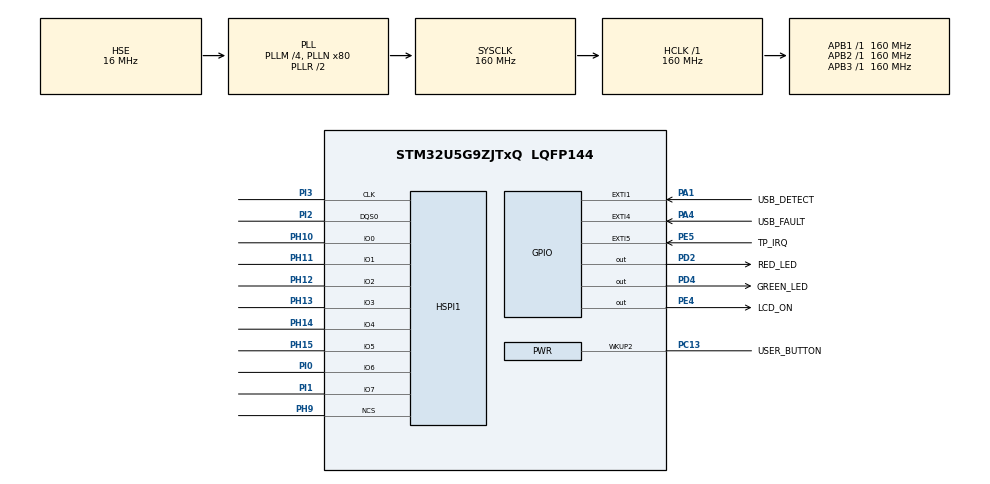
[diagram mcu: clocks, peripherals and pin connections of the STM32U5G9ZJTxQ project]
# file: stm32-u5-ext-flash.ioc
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CORTEX_M33_NS.userName=CORTEX_M33
HSPI1.ChipSelectBoundary=HAL_XSPI_BONDARYOF_NONE
HSPI1.ChipSelectHighTimeCycle=2
HSPI1.DeviceType=SPI_DEVICE_FLASH
HSPI1.FifoThresholdByte=4
HSPI1.MemorySize=HAL_XSPI_SIZE_1GB
HSPI1.MemoryType=HAL_XSPI_MEMTYPE_MACRONIX
Mcu.Family=STM32U5
Mcu.Name=STM32U5G9ZJTxQ
Mcu.Package=LQFP144
NVIC.EXTI1_IRQn=true\:0\:0\:false\:false\:true\:true\:true\:true
NVIC.EXTI4_IRQn=true\:0\:0\:false\:false\:true\:true\:true\:true
NVIC.EXTI5_IRQn=true\:0\:0\:false\:false\:true\:true\:true\:true
NVIC.PriorityGroup=NVIC_PRIORITYGROUP_4
PA1.GPIO_Label=USB_DETECT
PA1.GPIO_ModeDefaultEXTI=GPIO_MODE_IT_RISING_FALLING
PA1.Signal=GPXTI1
PA10.Signal=USART1_RX
PA11.Signal=USB_OTG_HS_DM
PA12.Signal=USB_OTG_HS_DP
PA13\ (JTMS/SWDIO).Signal=DEBUG_JTMS-SWDIO
PA14\ (JTCK/SWCLK).Signal=DEBUG_JTCK-SWCLK
PA4.GPIO_Label=USB_FAULT
PA4.GPIO_ModeDefaultEXTI=GPIO_MODE_IT_FALLING
PA4.GPIO_PuPd=GPIO_PULLUP
PA4.Signal=GPXTI4
PA9.Signal=USART1_TX
PB2.Signal=LTDC_B1
PB3\ (JTDO/TRACESWO).Signal=DEBUG_JTDO-SWO
PB9.Signal=LTDC_B0
PC13.GPIO_Label=USER_BUTTON
PC13.Mode=WakeUp2
PC13.Signal=PWR_WKUP2
PC14-OSC32_IN\ (PC14).Mode=LSE-External-Oscillator
PC14-OSC32_IN\ (PC14).Signal=RCC_OSC32_IN
PC15-OSC32_OUT\ (PC15).Mode=LSE-External-Oscillator
PC15-OSC32_OUT\ (PC15).Signal=RCC_OSC32_OUT
PC6.Signal=LTDC_R0
PC7.Signal=LTDC_R1
PC8.Signal=LTDC_G0
PC9.Signal=LTDC_G1
PD0.Signal=LTDC_B4
PD1.Signal=LTDC_B5
PD10.Signal=LTDC_R5
PD11.Signal=LTDC_R6
PD12.Signal=LTDC_R7
PD13.Signal=LTDC_VSYNC
PD14.Signal=LTDC_B2
PD15.Signal=LTDC_B3
PD2.GPIO_Label=RED_LED
PD2.Signal=GPIO_Output
PD3.Signal=LTDC_CLK
PD4.GPIO_Label=GREEN_LED
PD4.Signal=GPIO_Output
PD6.Signal=LTDC_DE
PD8.Signal=LTDC_R3
PD9.Signal=LTDC_R4
PE0.Signal=LTDC_HSYNC
PE10.Signal=LTDC_G3
PE11.Signal=LTDC_G4
PE12.Signal=LTDC_G5
PE13.Signal=LTDC_G6
PE14.Signal=LTDC_G7
PE15.Signal=LTDC_R2
PE4.GPIO_Label=LCD_ON
PE4.PinState=GPIO_PIN_SET
PE4.Signal=GPIO_Output
PE5.GPIO_Label=TP_IRQ
PE5.Signal=GPXTI5
PE6.GPIO_Label=BL_CTRL
PE6.Signal=S_TIM3_CH4
PE7.Signal=LTDC_B6
PE8.Signal=LTDC_B7
PE9.Signal=LTDC_G2
PF0.Signal=I2C2_SDA
PF1.Signal=I2C2_SCL
PH0-OSC_IN\ (PH0).Mode=HSE-External-Oscillator
PH0-OSC_IN\ (PH0).Signal=RCC_OSC_IN
PH1-OSC_OUT\ (PH1).Mode=HSE-External-Oscillator
PH1-OSC_OUT\ (PH1).Signal=RCC_OSC_OUT
PH10.Mode=octo_mode
PH10.Signal=HSPI1_IO0
PH11.Mode=octo_mode
PH11.Signal=HSPI1_IO1
PH12.Mode=octo_mode
PH12.Signal=HSPI1_IO2
PH13.Mode=octo_mode
PH13.Signal=HSPI1_IO3
PH14.Mode=octo_mode
PH14.Signal=HSPI1_IO4
PH15.Mode=octo_mode
PH15.Signal=HSPI1_IO5
PH9.Mode=octo_mode
PH9.Signal=HSPI1_NCS
PI0.Mode=octo_mode
PI0.Signal=HSPI1_IO6
PI1.Mode=octo_mode
PI1.Signal=HSPI1_IO7
PI2.Mode=octo_mode
PI2.Signal=HSPI1_DQS0
PI3.Mode=octo_mode
PI3.Signal=HSPI1_CLK
PWR.PowerMode=PWR_SMPS_SUPPLY
ProjectManager.HeapSize=0x200
ProjectManager.StackSize=0x400
ProjectManager.TargetToolchain=STM32CubeIDE
RCC.ADCFreq_Value=16000000
RCC.AHBFreq_Value=160000000
RCC.APB1Freq_Value=160000000
RCC.APB1TimFreq_Value=160000000
RCC.APB2Freq_Value=160000000
RCC.APB2TimFreq_Value=160000000
RCC.APB3Freq_Value=160000000
RCC.CortexFreq_Value=160000000
RCC.EPOD_VALUE=16000000
RCC.HCLKFreq_Value=160000000
RCC.HSE_VALUE=16000000
RCC.HSI48_VALUE=48000000
RCC.HSI_VALUE=16000000
RCC.HSPICLockSelection=RCC_HSPICLKSOURCE_PLL2
RCC.LSIDIV_VALUE=32000
RCC.LTDCCLockSelection=RCC_LTDCCLKSOURCE_PLL3
RCC.MSIClockRange=RCC_MSIRANGE_0
RCC.MSI_VALUE=48000000
RCC.PLL1P=8
RCC.PLL2FRACN=0
RCC.PLL2M=4
RCC.PLL2N=66
RCC.PLL2R=4
RCC.PLL2Source=RCC_PLLSOURCE_HSE
RCC.PLL3FRACN=0
RCC.PLL3M=4
RCC.PLL3N=50
RCC.PLL3R=8
RCC.PLL3Source=RCC_PLLSOURCE_HSE
RCC.PLLFRACN=0
RCC.PLLM=4
RCC.PLLN=80
RCC.PLLSourceVirtual=RCC_PLLSOURCE_HSE
RCC.RTCClockSelection=RCC_RTCCLKSOURCE_LSE
RCC.SYSCLKFreq_VALUE=160000000
RCC.SYSCLKSource=RCC_SYSCLKSOURCE_PLLCLK
RCC.VCOOutputFreq_Value=320000000
SH.S_TIM3_CH4.0=TIM3_CH4
VP_DCACHE1_VS_DCACHE.Mode=DCACHE_Activate
VP_ICACHE_VS_ICACHE.Mode=DirectMappedCache
VP_LPBAMQUEUE_VS_QUEUE.Mode=QUEUEMODE
VP_LPBAM_VS_SIG1.Mode=SmartRun
VP_LPBAM_VS_SIG4.Mode=LPDMA1
VP_MEMORYMAP_VS_MEMORYMAP.Mode=CurAppReg
VP_PWR_VS_LPOM.Mode=PowerOptimisation
VP_PWR_VS_SECSignals.Mode=Security/Privilege
board=STM32U5G9J-DK2

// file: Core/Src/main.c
/* USER CODE BEGIN Header */
/**
  ******************************************************************************
  * @file           : main.c
  * @brief          : Main program body
  ******************************************************************************
  * @attention
  *
  * Copyright (c) 2024 STMicroelectronics.
  * All rights reserved.
  *
  * This software is licensed under terms that can be found in the LICENSE file
  * in the root directory of this software component.
  * If no LICENSE file comes with this software, it is provided AS-IS.
  *
  ******************************************************************************
  */
/* USER CODE END Header */
#include "main.h"

/* USER CODE BEGIN Includes */
#include "test_flash.h"
#include <stdio.h>
/* USER CODE END Includes */

DCACHE_HandleTypeDef hdcache1;

XSPI_HandleTypeDef hxspi1;

void SystemClock_Config(void);
static void SystemPower_Config(void);
static void MX_GPIO_Init(void);
static void MX_HSPI1_Init(void);
static void MX_ICACHE_Init(void);
static void MX_DCACHE1_Init(void);

/* USER CODE BEGIN 0 */
const uint8_t DATA_BUFFER[] __attribute__((section("ExtFlashSection"))) __attribute__((aligned(4))) = {
    0x00, 0x01, 0x02, 0x03, 0x04, 0x05, 0x06, 0x07, 0x08, 0x09, 0x0A, 0x0B, 0x0C, 0x0D, 0x0E, 0x0F,
};

const uint8_t EMPTY_BUFFER[] __attribute__((section("ExtFlashSection"))) __attribute__((aligned(4))) = {
    0xFF, 0xFF, 0xFF, 0xFF, 0xFF, 0xFF, 0xFF, 0xFF, 0xFF, 0xFF, 0xFF, 0xFF, 0xFF, 0xFF, 0xFF, 0xFF,
};

/* USER CODE END 0 */

int main(void)
{

  /* MCU Configuration--------------------------------------------------------*/

  /* Reset of all peripherals, Initializes the Flash interface and the Systick. */
  HAL_Init();

  /* Configure the System Power */
  SystemPower_Config();

  /* Configure the system clock */
  SystemClock_Config();

  /* Initialize all configured peripherals */
  MX_GPIO_Init();
  MX_HSPI1_Init();
  MX_ICACHE_Init();
  MX_DCACHE1_Init();
  /* USER CODE BEGIN 2 */

#ifdef MEMORY_MAPPED_MODE
  print_buffer("DATA_BUFFER", DATA_BUFFER, sizeof(DATA_BUFFER));
  print_buffer("EMPTY_BUFFER", EMPTY_BUFFER, sizeof(EMPTY_BUFFER));

  // This causes an hard fault
  // *EMPTY_BUFFER = 0x01;
#else
  // All of these fail in memory mapped mode because HSPI ignores direct commands, so the write has no effect
  uint8_t buffer[256] = {};

  read_from_external_flash((uint32_t)DATA_BUFFER, buffer, sizeof(DATA_BUFFER));
  print_buffer("DATA_BUFFER", buffer, sizeof(DATA_BUFFER));
  read_from_external_flash((uint32_t)EMPTY_BUFFER, buffer, sizeof(EMPTY_BUFFER));
  print_buffer("EMPTY_BUFFER", buffer, sizeof(EMPTY_BUFFER));

  uint32_t address = 0xA0000000 + 128 * 1024;   // 0xA0020000

  read_from_external_flash(address, buffer, sizeof(buffer));
  print_buffer("*address", buffer, sizeof(buffer));

  erase_external_flash(address);
  HAL_Delay(MX66UW1G45G_BLOCK_4K_ERASE_MAX_TIME);

  uint8_t data_to_write[sizeof(buffer)] = {};
  for (uint32_t i = 0; i < sizeof(data_to_write); ++i)
	  data_to_write[i] = (uint8_t)(buffer[0] + i + 1);

  write_to_external_flash(address, data_to_write, sizeof(data_to_write));
  HAL_Delay(MX66UW1G45G_PAGE_PROGRAM_MAX_TIME);
  read_from_external_flash(address, buffer, sizeof(buffer));
  print_buffer("*address", buffer, sizeof(buffer));

  write_to_external_flash(address + 256, data_to_write, 16);
  HAL_Delay(MX66UW1G45G_PAGE_PROGRAM_MAX_TIME);
  write_to_external_flash(address + 256 + 32, data_to_write + 32, 16);
  HAL_Delay(MX66UW1G45G_PAGE_PROGRAM_MAX_TIME);

  read_from_external_flash(address + 256, buffer, sizeof(buffer));
  print_buffer("*address + 256", buffer, 64);
#endif

  /* USER CODE END 2 */

  /* Infinite loop */
  while (1)
  {

  }
}

void SystemClock_Config(void)
{
  RCC_OscInitTypeDef RCC_OscInitStruct = {0};
  RCC_ClkInitTypeDef RCC_ClkInitStruct = {0};

  /** Configure the main internal regulator output voltage
  */
  if (HAL_PWREx_ControlVoltageScaling(PWR_REGULATOR_VOLTAGE_SCALE1) != HAL_OK)
  {
    Error_Handler();
  }

  /** Initializes the CPU, AHB and APB buses clocks
  */
  RCC_OscInitStruct.OscillatorType = RCC_OSCILLATORTYPE_HSE;
  RCC_OscInitStruct.HSEState = RCC_HSE_ON;
  RCC_OscInitStruct.PLL.PLLState = RCC_PLL_ON;
  RCC_OscInitStruct.PLL.PLLSource = RCC_PLLSOURCE_HSE;
  RCC_OscInitStruct.PLL.PLLMBOOST = RCC_PLLMBOOST_DIV1;
  RCC_OscInitStruct.PLL.PLLM = 4;
  RCC_OscInitStruct.PLL.PLLN = 80;
  RCC_OscInitStruct.PLL.PLLP = 8;
  RCC_OscInitStruct.PLL.PLLQ = 2;
  RCC_OscInitStruct.PLL.PLLR = 2;
  RCC_OscInitStruct.PLL.PLLRGE = RCC_PLLVCIRANGE_0;
  RCC_OscInitStruct.PLL.PLLFRACN = 0;
  if (HAL_RCC_OscConfig(&RCC_OscInitStruct) != HAL_OK)
  {
    Error_Handler();
  }

  /** Initializes the CPU, AHB and APB buses clocks
  */
  RCC_ClkInitStruct.ClockType = RCC_CLOCKTYPE_HCLK|RCC_CLOCKTYPE_SYSCLK
                              |RCC_CLOCKTYPE_PCLK1|RCC_CLOCKTYPE_PCLK2
                              |RCC_CLOCKTYPE_PCLK3;
  RCC_ClkInitStruct.SYSCLKSource = RCC_SYSCLKSOURCE_PLLCLK;
  RCC_ClkInitStruct.AHBCLKDivider = RCC_SYSCLK_DIV1;
  RCC_ClkInitStruct.APB1CLKDivider = RCC_HCLK_DIV1;
  RCC_ClkInitStruct.APB2CLKDivider = RCC_HCLK_DIV1;
  RCC_ClkInitStruct.APB3CLKDivider = RCC_HCLK_DIV1;

  if (HAL_RCC_ClockConfig(&RCC_ClkInitStruct, FLASH_LATENCY_4) != HAL_OK)
  {
    Error_Handler();
  }
}

/**
  * @brief Power Configuration
  * @retval None
  */
static void SystemPower_Config(void)
{

  /*
   * Switch to SMPS regulator instead of LDO
   */
  if (HAL_PWREx_ConfigSupply(PWR_SMPS_SUPPLY) != HAL_OK)
  {
    Error_Handler();
  }
}

static void MX_DCACHE1_Init(void)
{

  hdcache1.Instance = DCACHE1;
  hdcache1.Init.ReadBurstType = DCACHE_READ_BURST_WRAP;
  if (HAL_DCACHE_Init(&hdcache1) != HAL_OK)
  {
    Error_Handler();
  }

}

static void MX_HSPI1_Init(void)
{

  /* HSPI1 parameter configuration*/
  hxspi1.Instance = HSPI1;
  hxspi1.Init.FifoThresholdByte = 4;
  hxspi1.Init.MemoryMode = HAL_XSPI_SINGLE_MEM;
  hxspi1.Init.MemoryType = HAL_XSPI_MEMTYPE_MACRONIX;
  hxspi1.Init.MemorySize = HAL_XSPI_SIZE_1GB;
  hxspi1.Init.ChipSelectHighTimeCycle = 2;
  hxspi1.Init.FreeRunningClock = HAL_XSPI_FREERUNCLK_DISABLE;
  hxspi1.Init.ClockMode = HAL_XSPI_CLOCK_MODE_0;
  hxspi1.Init.WrapSize = HAL_XSPI_WRAP_NOT_SUPPORTED;
  hxspi1.Init.ClockPrescaler = 0;
  hxspi1.Init.SampleShifting = HAL_XSPI_SAMPLE_SHIFT_NONE;
  hxspi1.Init.DelayHoldQuarterCycle = HAL_XSPI_DHQC_DISABLE;
  hxspi1.Init.ChipSelectBoundary = HAL_XSPI_BONDARYOF_NONE;
  hxspi1.Init.MaxTran = 0;
  hxspi1.Init.Refresh = 0;
  if (HAL_XSPI_Init(&hxspi1) != HAL_OK)
  {
    Error_Handler();
  }
  /* USER CODE BEGIN HSPI1_Init 2 */
  // Reset flash
  MX66UW1G45G_ResetEnable(&hxspi1, MX66UW1G45G_SPI_MODE, MX66UW1G45G_STR_TRANSFER);
  MX66UW1G45G_ResetMemory(&hxspi1, MX66UW1G45G_SPI_MODE, MX66UW1G45G_STR_TRANSFER);
  HAL_Delay(MX66UW1G45G_RESET_MAX_TIME);

  /* Enable write operations */
  MX66UW1G45G_WriteEnable(&hxspi1, MX66UW1G45G_SPI_MODE, MX66UW1G45G_STR_TRANSFER);

  /* Write Configuration register 2 (with new dummy cycles) */
  MX66UW1G45G_WriteCfg2Register(&hxspi1, MX66UW1G45G_SPI_MODE, MX66UW1G45G_STR_TRANSFER, MX66UW1G45G_CR2_REG3_ADDR, MX66UW1G45G_CR2_DC_6_CYCLES);

  /* Enable write operations */
  MX66UW1G45G_WriteEnable(&hxspi1, MX66UW1G45G_SPI_MODE, MX66UW1G45G_STR_TRANSFER);

#if defined(MEMORY_MAPPED_MODE)
  printf("Using MEMORY_MAPPED_MODE\n");
  /* Write Configuration register 2 (with Octal I/O SPI protocol) */
  MX66UW1G45G_WriteCfg2Register(&hxspi1, MX66UW1G45G_SPI_MODE, MX66UW1G45G_STR_TRANSFER, MX66UW1G45G_CR2_REG1_ADDR, MX66UW1G45G_CR2_DOPI);

  /* Wait that the configuration is effective and check that memory is ready */
  HAL_Delay(MX66UW1G45G_WRITE_REG_MAX_TIME);

  read_flash_id();

  MX66UW1G45G_EnableDTRMemoryMappedMode(&hxspi1, MX66UW1G45G_OPI_MODE);
#elif defined(INDIRECT_MODE_SPI)
  printf("Using INDIRECT_MODE_SPI\n");

  /* Wait that the configuration is effective and check that memory is ready */
  HAL_Delay(MX66UW1G45G_WRITE_REG_MAX_TIME);

  read_flash_id();
#elif defined(INDIRECT_MODE_OPI_STR)
  printf("Using INDIRECT_MODE_OPI_STR\n");

  /* Write Configuration register 2 (with Octal I/O SPI protocol) */
  MX66UW1G45G_WriteCfg2Register(&hxspi1, MX66UW1G45G_SPI_MODE, MX66UW1G45G_STR_TRANSFER, MX66UW1G45G_CR2_REG1_ADDR, MX66UW1G45G_CR2_SOPI);

  /* Wait that the configuration is effective and check that memory is ready */
  HAL_Delay(MX66UW1G45G_WRITE_REG_MAX_TIME);

  read_flash_id();
#elif defined(INDIRECT_MODE_OPI_DTR)
  printf("Using INDIRECT_MODE_OPI_DTR\n");

  /* Write Configuration register 2 (with Octal I/O SPI protocol) */
  MX66UW1G45G_WriteCfg2Register(&hxspi1, MX66UW1G45G_SPI_MODE, MX66UW1G45G_STR_TRANSFER, MX66UW1G45G_CR2_REG1_ADDR, MX66UW1G45G_CR2_DOPI);

  /* Wait that the configuration is effective and check that memory is ready */
  HAL_Delay(MX66UW1G45G_WRITE_REG_MAX_TIME);

  // read_flash_id();
#endif
  /* USER CODE END HSPI1_Init 2 */

}

static void MX_ICACHE_Init(void)
{

  /** Enable instruction cache in 1-way (direct mapped cache)
  */
  if (HAL_ICACHE_ConfigAssociativityMode(ICACHE_1WAY) != HAL_OK)
  {
    Error_Handler();
  }
  if (HAL_ICACHE_Enable() != HAL_OK)
  {
    Error_Handler();
  }

}

static void MX_GPIO_Init(void)
{
  GPIO_InitTypeDef GPIO_InitStruct = {0};

  /* GPIO Ports Clock Enable */
  __HAL_RCC_GPIOE_CLK_ENABLE();
  __HAL_RCC_GPIOC_CLK_ENABLE();
  __HAL_RCC_GPIOF_CLK_ENABLE();
  __HAL_RCC_GPIOH_CLK_ENABLE();
  __HAL_RCC_GPIOA_CLK_ENABLE();
  __HAL_RCC_GPIOB_CLK_ENABLE();
  __HAL_RCC_GPIOD_CLK_ENABLE();
  __HAL_RCC_GPIOI_CLK_ENABLE();

  /*Configure GPIO pin Output Level */
  HAL_GPIO_WritePin(LCD_ON_GPIO_Port, LCD_ON_Pin, GPIO_PIN_SET);

  /*Configure GPIO pin Output Level */
  HAL_GPIO_WritePin(GPIOD, RED_LED_Pin|GREEN_LED_Pin, GPIO_PIN_RESET);

  /*Configure GPIO pin : LCD_ON_Pin */
  GPIO_InitStruct.Pin = LCD_ON_Pin;
  GPIO_InitStruct.Mode = GPIO_MODE_OUTPUT_PP;
  GPIO_InitStruct.Pull = GPIO_NOPULL;
  GPIO_InitStruct.Speed = GPIO_SPEED_FREQ_LOW;
  HAL_GPIO_Init(LCD_ON_GPIO_Port, &GPIO_InitStruct);

  /*Configure GPIO pin : TP_IRQ_Pin */
  GPIO_InitStruct.Pin = TP_IRQ_Pin;
  GPIO_InitStruct.Mode = GPIO_MODE_IT_RISING;
  GPIO_InitStruct.Pull = GPIO_NOPULL;
  HAL_GPIO_Init(TP_IRQ_GPIO_Port, &GPIO_InitStruct);

  /*Configure GPIO pin : BL_CTRL_Pin */
  GPIO_InitStruct.Pin = BL_CTRL_Pin;
  GPIO_InitStruct.Mode = GPIO_MODE_AF_PP;
  GPIO_InitStruct.Pull = GPIO_NOPULL;
  GPIO_InitStruct.Speed = GPIO_SPEED_FREQ_LOW;
  GPIO_InitStruct.Alternate = GPIO_AF2_TIM3;
  HAL_GPIO_Init(BL_CTRL_GPIO_Port, &GPIO_InitStruct);

  /*Configure GPIO pins : PF0 PF1 */
  GPIO_InitStruct.Pin = GPIO_PIN_0|GPIO_PIN_1;
  GPIO_InitStruct.Mode = GPIO_MODE_AF_OD;
  GPIO_InitStruct.Pull = GPIO_NOPULL;
  GPIO_InitStruct.Speed = GPIO_SPEED_FREQ_LOW;
  GPIO_InitStruct.Alternate = GPIO_AF4_I2C2;
  HAL_GPIO_Init(GPIOF, &GPIO_InitStruct);

  /*Configure GPIO pin : USB_DETECT_Pin */
  GPIO_InitStruct.Pin = USB_DETECT_Pin;
  GPIO_InitStruct.Mode = GPIO_MODE_IT_RISING_FALLING;
  GPIO_InitStruct.Pull = GPIO_NOPULL;
  HAL_GPIO_Init(USB_DETECT_GPIO_Port, &GPIO_InitStruct);

  /*Configure GPIO pin : USB_FAULT_Pin */
  GPIO_InitStruct.Pin = USB_FAULT_Pin;
  GPIO_InitStruct.Mode = GPIO_MODE_IT_FALLING;
  GPIO_InitStruct.Pull = GPIO_PULLUP;
  HAL_GPIO_Init(USB_FAULT_GPIO_Port, &GPIO_InitStruct);

  /*Configure GPIO pin : PB2 */
  GPIO_InitStruct.Pin = GPIO_PIN_2;
  GPIO_InitStruct.Mode = GPIO_MODE_AF_PP;
  GPIO_InitStruct.Pull = GPIO_NOPULL;
  GPIO_InitStruct.Speed = GPIO_SPEED_FREQ_LOW;
  GPIO_InitStruct.Alternate = GPIO_AF8_LTDC;
  HAL_GPIO_Init(GPIOB, &GPIO_InitStruct);

  /*Configure GPIO pins : PE7 PE8 PE9 PE10
                           PE11 PE12 PE13 PE14
                           PE15 PE0 */
  GPIO_InitStruct.Pin = GPIO_PIN_7|GPIO_PIN_8|GPIO_PIN_9|GPIO_PIN_10
                          |GPIO_PIN_11|GPIO_PIN_12|GPIO_PIN_13|GPIO_PIN_14
                          |GPIO_PIN_15|GPIO_PIN_0;
  GPIO_InitStruct.Mode = GPIO_MODE_AF_PP;
  GPIO_InitStruct.Pull = GPIO_NOPULL;
  GPIO_InitStruct.Speed = GPIO_SPEED_FREQ_LOW;
  GPIO_InitStruct.Alternate = GPIO_AF8_LTDC;
  HAL_GPIO_Init(GPIOE, &GPIO_InitStruct);

  /*Configure GPIO pins : PD8 PD9 PD10 PD11
                           PD12 PD13 PD14 PD15
                           PD0 PD1 PD3 PD6 */
  GPIO_InitStruct.Pin = GPIO_PIN_8|GPIO_PIN_9|GPIO_PIN_10|GPIO_PIN_11
                          |GPIO_PIN_12|GPIO_PIN_13|GPIO_PIN_14|GPIO_PIN_15
                          |GPIO_PIN_0|GPIO_PIN_1|GPIO_PIN_3|GPIO_PIN_6;
  GPIO_InitStruct.Mode = GPIO_MODE_AF_PP;
  GPIO_InitStruct.Pull = GPIO_NOPULL;
  GPIO_InitStruct.Speed = GPIO_SPEED_FREQ_LOW;
  GPIO_InitStruct.Alternate = GPIO_AF8_LTDC;
  HAL_GPIO_Init(GPIOD, &GPIO_InitStruct);

  /*Configure GPIO pins : PC6 PC7 */
  GPIO_InitStruct.Pin = GPIO_PIN_6|GPIO_PIN_7;
  GPIO_InitStruct.Mode = GPIO_MODE_AF_PP;
  GPIO_InitStruct.Pull = GPIO_NOPULL;
  GPIO_InitStruct.Speed = GPIO_SPEED_FREQ_LOW;
  GPIO_InitStruct.Alternate = GPIO_AF7_LTDC;
  HAL_GPIO_Init(GPIOC, &GPIO_InitStruct);

  /*Configure GPIO pins : PC8 PC9 */
  GPIO_InitStruct.Pin = GPIO_PIN_8|GPIO_PIN_9;
  GPIO_InitStruct.Mode = GPIO_MODE_AF_PP;
  GPIO_InitStruct.Pull = GPIO_NOPULL;
  GPIO_InitStruct.Speed = GPIO_SPEED_FREQ_LOW;
  GPIO_InitStruct.Alternate = GPIO_AF8_LTDC;
  HAL_GPIO_Init(GPIOC, &GPIO_InitStruct);

  /*Configure GPIO pins : PA9 PA10 */
  GPIO_InitStruct.Pin = GPIO_PIN_9|GPIO_PIN_10;
  GPIO_InitStruct.Mode = GPIO_MODE_AF_PP;
  GPIO_InitStruct.Pull = GPIO_NOPULL;
  GPIO_InitStruct.Speed = GPIO_SPEED_FREQ_LOW;
  GPIO_InitStruct.Alternate = GPIO_AF7_USART1;
  HAL_GPIO_Init(GPIOA, &GPIO_InitStruct);

  /*Configure GPIO pins : PA11 PA12 */
  GPIO_InitStruct.Pin = GPIO_PIN_11|GPIO_PIN_12;
  GPIO_InitStruct.Mode = GPIO_MODE_AF_PP;
  GPIO_InitStruct.Pull = GPIO_NOPULL;
  GPIO_InitStruct.Speed = GPIO_SPEED_FREQ_LOW;
  HAL_GPIO_Init(GPIOA, &GPIO_InitStruct);

  /*Configure GPIO pins : RED_LED_Pin GREEN_LED_Pin */
  GPIO_InitStruct.Pin = RED_LED_Pin|GREEN_LED_Pin;
  GPIO_InitStruct.Mode = GPIO_MODE_OUTPUT_PP;
  GPIO_InitStruct.Pull = GPIO_NOPULL;
  GPIO_InitStruct.Speed = GPIO_SPEED_FREQ_LOW;
  HAL_GPIO_Init(GPIOD, &GPIO_InitStruct);

  /*Configure GPIO pin : PB9 */
  GPIO_InitStruct.Pin = GPIO_PIN_9;
  GPIO_InitStruct.Mode = GPIO_MODE_AF_PP;
  GPIO_InitStruct.Pull = GPIO_NOPULL;
  GPIO_InitStruct.Speed = GPIO_SPEED_FREQ_LOW;
  GPIO_InitStruct.Alternate = GPIO_AF7_LTDC;
  HAL_GPIO_Init(GPIOB, &GPIO_InitStruct);

  /* EXTI interrupt init*/
  HAL_NVIC_SetPriority(EXTI1_IRQn, 0, 0);
  HAL_NVIC_EnableIRQ(EXTI1_IRQn);

  HAL_NVIC_SetPriority(EXTI4_IRQn, 0, 0);
  HAL_NVIC_EnableIRQ(EXTI4_IRQn);

  HAL_NVIC_SetPriority(EXTI5_IRQn, 0, 0);
  HAL_NVIC_EnableIRQ(EXTI5_IRQn);

}

void Error_Handler(void)
{
  __disable_irq();
  while (1)
  {
  }
}
